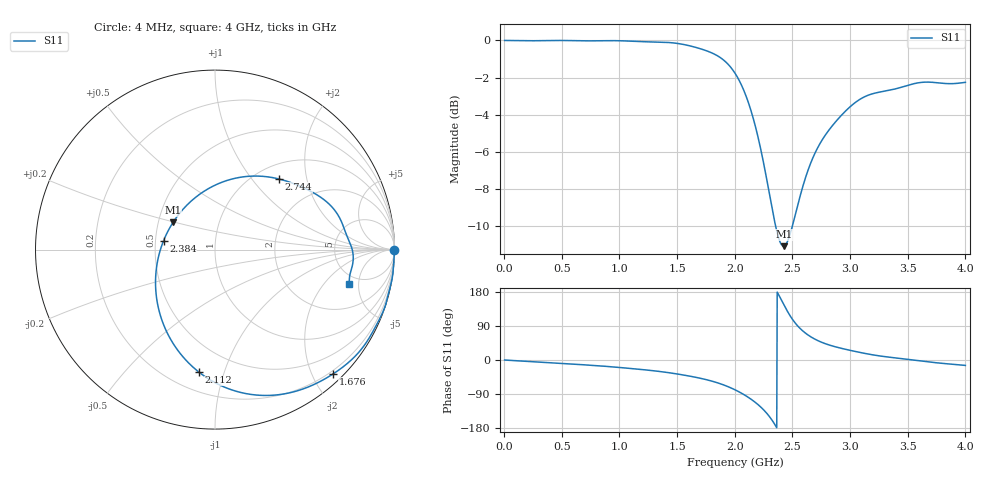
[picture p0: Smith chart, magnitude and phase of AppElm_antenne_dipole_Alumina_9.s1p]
! TOUCHSTONE file generated by CST MICROWAVE STUDIO
! Date and time: Sat May 14 10:20:46 2022
! Project name: AppElm_antenne_dipole_Alumina.cst
! Parameters = {L=33; e=0.035; f=2.45e+09; h=1.6; i=0.8; l1=2.3; lambda=122.449; ls=30; wl=1.7; ws=80}
! Header version: 2018
! Port assignment regex: !\s*Touchstone port\s*([0-9]+)\s*=\s*(CST MWS port|CST DS port)\s*([0-9]+|Zmin|Zmax)\s*\(\"(.*)\"\)(\s*mode\s*([0-9]+))?.*
! Touchstone port assignment:
! Touchstone port 1 = CST MWS port 1 ("")
# GHz S MA R 50
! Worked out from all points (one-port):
!   1000 points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, 4 MHz to 4 GHz, reference 50 ohm
!   lowest |S11| = -11.1 dB at 2.424 GHz (marker M1), VSWR 1.77, Z = 29.9 + j9.85 ohm
!   |S11| at or under -10 dB: 2.354 GHz to 2.5 GHz (146.5 MHz wide, 6.04 % of centre)
!   S11 on the Smith chart (normalised r, x): 4 MHz: open; 1.676 GHz: 0.15, -2.32; 2.112 GHz: 0.32, -0.83; 2.384 GHz: 0.55, +0.06; 2.744 GHz: 1.26, +1.38; 4 GHz: 4.05, -3.80
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0.004  1 -0.1
0.504  0.9999 -9.0
1.004  0.9982 -19.8
1.316  0.9905 -29.1
1.504  0.9816 -37.0
1.676  0.9551 -46.6
1.768  0.9346 -53.0
1.848  0.9099 -60.0
1.932  0.869 -69.2
2.004  0.8142 -78.9
2.06  0.7557 -87.9
2.112  0.6885 -97.5
2.188  0.5714 -114.2
2.256  0.4569 -133.4
2.32  0.3572 -157.4
2.384  0.2908 170.2
2.424  0.2787 146.9
2.504  0.3195 105.7
2.556  0.3694 86.5
2.608  0.4212 72.1
2.668  0.4749 59.6
2.744  0.5303 47.9
2.856  0.594 36.2
3.004  0.664 25.2
3.188  0.7172 14.0
3.504  0.7574 1.8
3.744  0.7696 -7.2
4  0.771 -14.3
